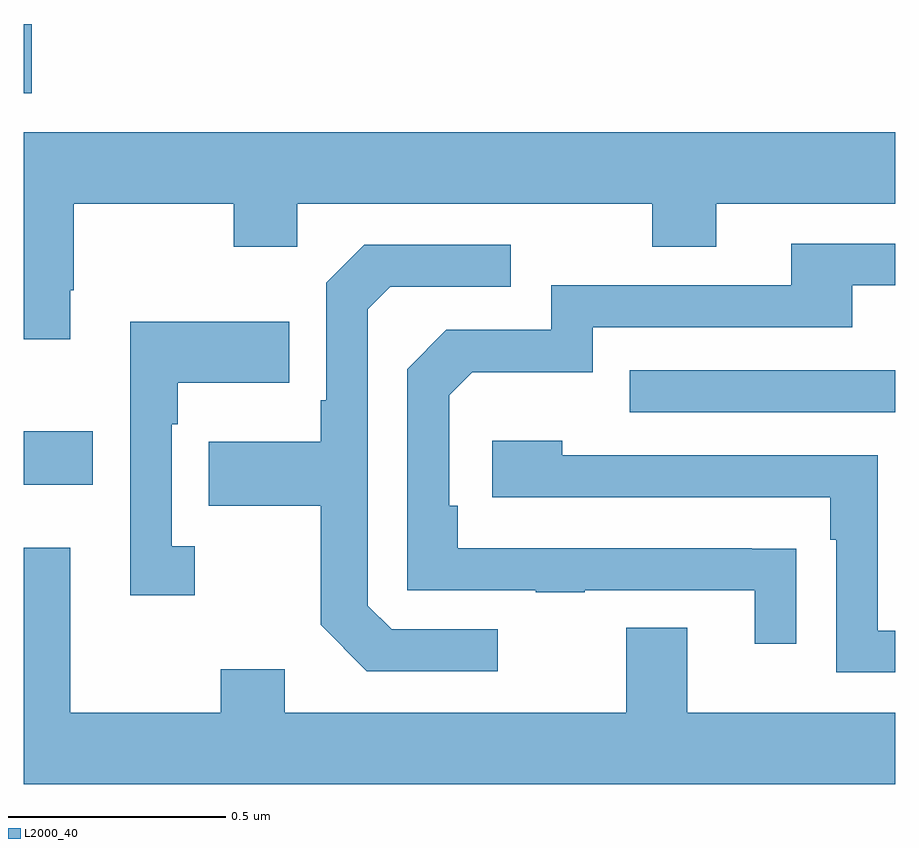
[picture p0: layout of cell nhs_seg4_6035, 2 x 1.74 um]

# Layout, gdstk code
import gdstk
lib = gdstk.Library(unit=1e-6, precision=1e-09)
def R(c, l, rs):  # rectangles x0, y0, x1, y1
    for r in rs: c.add(gdstk.rectangle(r[:2], r[2:], *l))
def P(c, l, *ps):  # polygons
    for p in ps: c.add(gdstk.Polygon(p, *l))
L2000_40 = (2000, 40)

nhs_seg4_6035 = lib.new_cell('nhs_seg4_6035')
R(nhs_seg4_6035, L2000_40, [(185,794.843,185.158,794.965), (186.391,795.009,187,795.105), (185,795.741,185.018,795.9)])
P(nhs_seg4_6035, L2000_40, [(185.107,795.289),(185.115,795.289),(185.115,795.488),(185.482,795.488),(185.482,795.389),(185.628,795.389),(185.628,795.488),(186.442,795.488),(186.442,795.389),(186.589,795.389),(186.589,795.488),(187,795.488),(187,795.652),(185,795.652),(185,795.177),(185.107,795.177)],
  [(186.773,794.696),(186.671,794.696),(186.671,794.697),(185.996,794.697),(185.996,794.794),(185.976,794.794),(185.976,795.048),(186.029,795.101),(186.306,795.101),(186.306,795.204),(186.901,795.204),(186.901,795.3),(187,795.3),(187,795.396),(186.761,795.396),(186.761,795.3),(186.21,795.3),(186.21,795.198),(185.97,795.198),(185.88,795.108),(185.88,794.601),(186.175,794.601),(186.175,794.596),(186.287,794.596),(186.287,794.601),(186.677,794.601),(186.677,794.478),(186.773,794.478)],
  [(186.088,794.511),(185.844,794.511),(185.79,794.565),(185.79,795.246),(185.841,795.297),(186.118,795.297),(186.118,795.393),(185.781,795.393),(185.694,795.306),(185.694,795.037),(185.682,795.037),(185.682,794.941),(185.425,794.941),(185.425,794.794),(185.682,794.794),(185.682,794.521),(185.787,794.415),(186.088,794.415)],
  [(185.392,794.702),(185.34,794.702),(185.34,794.981),(185.353,794.981),(185.353,795.077),(185.609,795.077),(185.609,795.217),(185.244,795.217),(185.244,794.589),(185.392,794.589)],
  [(187,794.508),(186.96,794.508),(186.96,794.91),(186.236,794.91),(186.236,794.944),(186.075,794.944),(186.075,794.814),(186.851,794.814),(186.851,794.717),(186.864,794.717),(186.864,794.412),(187,794.412)],
  [(187,794.32),(186.523,794.32),(186.523,794.515),(186.383,794.515),(186.383,794.32),(185.599,794.32),(185.599,794.419),(185.452,794.419),(185.452,794.32),(185.107,794.32),(185.107,794.698),(185,794.698),(185,794.156),(187,794.156)])

lib.write_gds('nhs_seg4_6035.gds')
